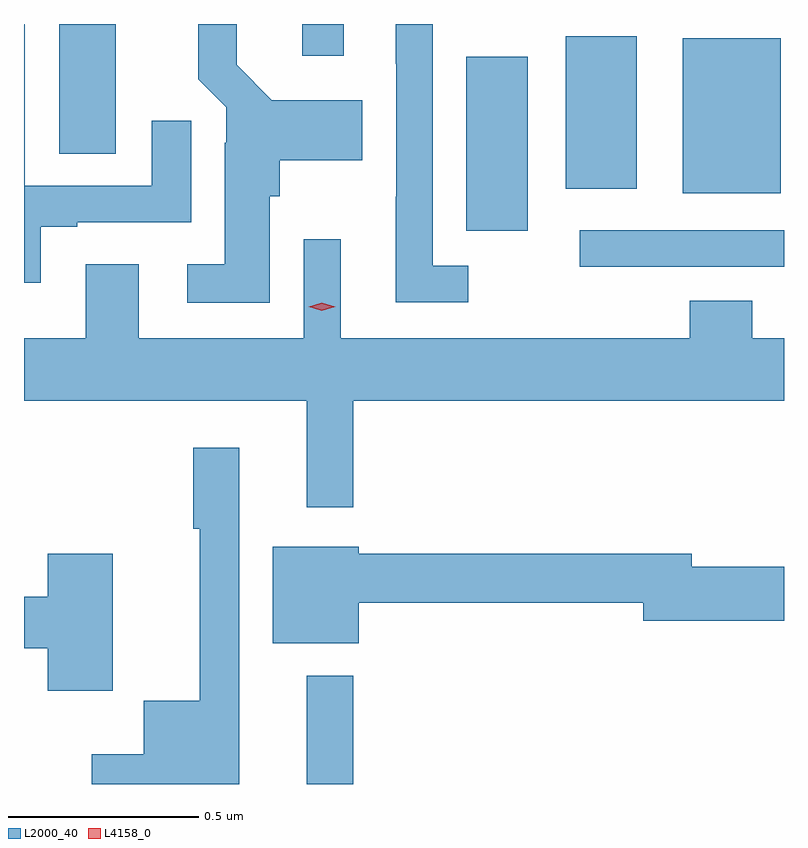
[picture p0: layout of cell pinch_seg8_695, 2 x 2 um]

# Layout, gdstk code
import gdstk
lib = gdstk.Library(unit=1e-6, precision=1e-09)
def R(c, l, rs):  # rectangles x0, y0, x1, y1
    for r in rs: c.add(gdstk.rectangle(r[:2], r[2:], *l))
def P(c, l, *ps):  # polygons
    for p in ps: c.add(gdstk.Polygon(p, *l))
L2000_40 = (2000, 40)
L4158_0 = (4158, 0)

pinch_seg8_695 = lib.new_cell('pinch_seg8_695')
R(pinch_seg8_695, L2000_40, [(247.043,1114.159,247.165,1114.444), (247.761,1115.52,248.299,1115.616), (247.463,1115.615,247.624,1116.073), (248.033,1115.714,248.29,1116.121), (247.724,1115.726,247.912,1116.127), (246.392,1115.818,246.541,1116.159), (247.031,1116.075,247.141,1116.159)])
P(pinch_seg8_695, L2000_40, [(246.343,1115.625),(246.439,1115.625),(246.439,1115.637),(246.739,1115.637),(246.739,1115.905),(246.635,1115.905),(246.635,1115.733),(246.301,1115.733),(246.301,1116.159),(246.299,1116.159),(246.299,1115.478),(246.343,1115.478)],
  [(246.946,1115.706),(246.972,1115.706),(246.972,1115.801),(247.189,1115.801),(247.189,1115.959),(246.951,1115.959),(246.859,1116.052),(246.859,1116.159),(246.757,1116.159),(246.757,1116.014),(246.831,1115.94),(246.831,1115.846),(246.827,1115.846),(246.827,1115.527),(246.729,1115.527),(246.729,1115.426),(246.946,1115.426)],
  [(247.468,1115.523),(247.374,1115.523),(247.374,1116.159),(247.277,1116.159),(247.277,1116.055),(247.278,1116.055),(247.278,1115.705),(247.277,1115.705),(247.277,1115.427),(247.468,1115.427)],
  [(247.165,1115.168),(248.299,1115.168),(248.299,1115.332),(248.216,1115.332),(248.216,1115.431),(248.051,1115.431),(248.051,1115.332),(247.132,1115.332),(247.132,1115.593),(247.035,1115.593),(247.035,1115.332),(246.601,1115.332),(246.601,1115.527),(246.461,1115.527),(246.461,1115.332),(246.299,1115.332),(246.299,1115.168),(247.043,1115.168),(247.043,1114.887),(247.165,1114.887)],
  [(246.865,1115.044),(246.744,1115.044),(246.744,1114.831),(246.761,1114.831),(246.761,1114.378),(246.614,1114.378),(246.614,1114.237),(246.477,1114.237),(246.477,1114.159),(246.865,1114.159)],
  [(247.18,1114.636),(247.928,1114.636),(247.928,1114.589),(248.299,1114.589),(248.299,1114.731),(248.056,1114.731),(248.056,1114.765),(247.18,1114.765),(247.18,1114.783),(246.953,1114.783),(246.953,1114.529),(247.18,1114.529)],
  [(246.532,1114.765),(246.362,1114.765),(246.362,1114.652),(246.299,1114.652),(246.299,1114.516),(246.362,1114.516),(246.362,1114.404),(246.532,1114.404)])
P(pinch_seg8_695, L4158_0, [(247.083,1115.405),(247.048,1115.415),(247.048,1115.415),(247.048,1115.415),(247.083,1115.425),(247.118,1115.415),(247.118,1115.415),(247.118,1115.415)])

lib.write_gds('pinch_seg8_695.gds')
